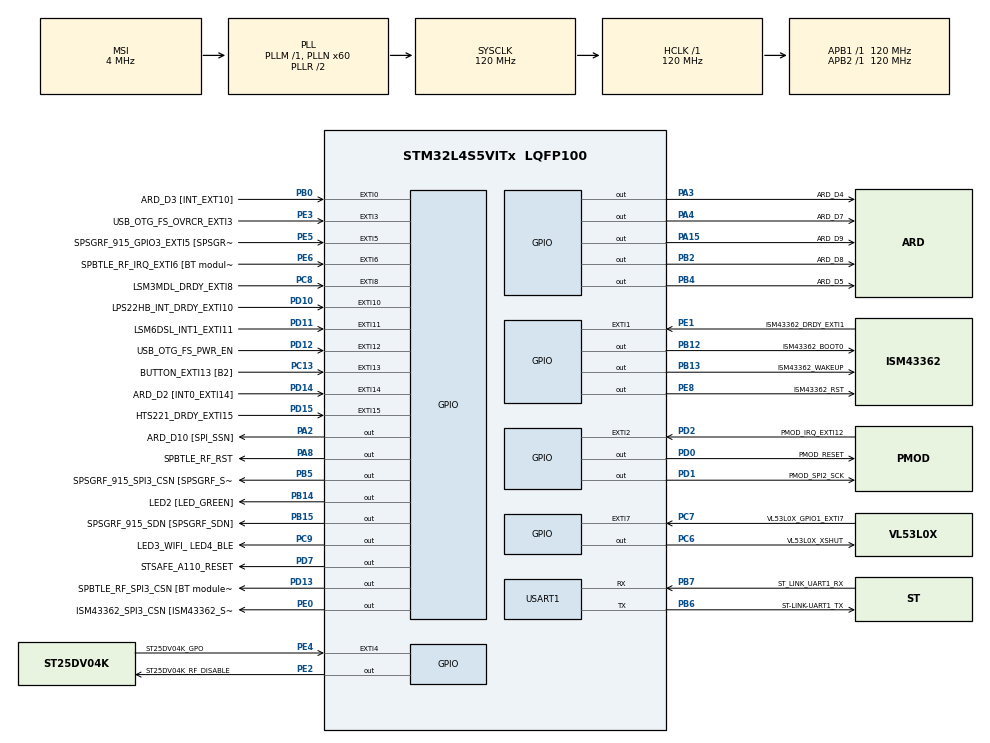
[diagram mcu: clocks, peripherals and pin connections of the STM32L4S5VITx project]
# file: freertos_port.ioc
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PD5.GPIO_ModeDefaultPP=GPIO_MODE_AF_PP
PE15.GPIO_Mode=GPIO_MODE_AF_PP
PD12.GPIO_Label=USB_OTG_FS_PWR_EN
VP_SYS_VS_tim6.Mode=TIM6
PC10.GPIO_PuPd=GPIO_NOPULL
NVIC.TIM6_DAC_IRQn=true\:0\:0\:false\:false\:true\:false\:true
PC12.Signal=SPI3_MOSI
PB14.GPIO_Label=LED2 [LED_GREEN]
PE8.GPIO_PuPd=GPIO_NOPULL
PB7.GPIO_FM7=__NULL
PC6.GPIO_Label=VL53L0X_XSHUT
PE10.GPIO_PuPd=GPIO_NOPULL
PA6.GPIO_Label=ARD_D12 [SPI1_MISO]
PB6.GPIO_Label=ST-LINK-UART1_TX
PD10.GPIO_PuPd=GPIO_NOPULL
PA15\ (JTDI).Signal=GPIO_Output
PB13.Signal=GPIO_Output
PD3.GPIO_Speed=GPIO_SPEED_FREQ_VERY_HIGH
PD6.GPIO_Label=PMOD_UART2_RX
PE6.GPIO_Label=SPBTLE_RF_IRQ_EXTI6 [BT module_SPI_IRQ]
RCC.SYSCLKSource=RCC_SYSCLKSOURCE_PLLCLK
PA6.GPIO_Mode=GPIO_MODE_AF_PP
PB11.GPIO_Speed=GPIO_SPEED_FREQ_VERY_HIGH
PD8.GPIO_ModeDefaultPP=GPIO_MODE_AF_PP
PE13.GPIO_Mode=GPIO_MODE_AF_PP
PA14\ (JTCK/SWCLK).Signal=SYS_JTCK-SWCLK
PD7.GPIO_PuPd=GPIO_NOPULL
PD4.Signal=USART2_RTS
RCC.APB2TimFreq_Value=120000000
PC4.GPIO_Mode=GPIO_MODE_ANALOG_ADC_CONTROL
PB6.Signal=USART1_TX
PC7.Signal=GPXTI7
PB12.PinState=GPIO_PIN_RESET
PB6.Mode=Asynchronous
PC3.Signal=ADCx_IN4
PD0.Signal=GPIO_Output
PD8.Signal=USART3_TX
PE5.Signal=GPXTI5
PD10.GPIO_ModeDefaultEXTI=GPIO_MODE_IT_RISING
PE1.Signal=GPXTI1
PA1.GPIO_PuPd=GPIO_NOPULL
PD2.GPIO_ModeDefaultEXTI=GPIO_MODE_IT_RISING
NVIC.EXTI15_10_IRQn=true\:0\:0\:false\:false\:true\:true\:true
PB7.GPIO_ModeDefaultPP=GPIO_MODE_AF_PP
PB2.Signal=GPIO_Output
PB12.GPIO_ModeDefaultOutputPP=GPIO_MODE_OUTPUT_PP
PC1.GPIO_PuPd=GPIO_NOPULL
PD1.GPIO_Label=PMOD_SPI2_SCK
PE11.GPIO_Speed_High_Default=GPIO_SPEED_FREQ_VERY_HIGH
PB12.GPIO_Label=ISM43362_BOOT0
PA13\ (JTMS/SWDIO).GPIO_Label=SYS_JTMS_SWDIO
PC4.GPIO_Label=ARD_A1 [ADC]
PB1.GPIO_Speed=GPIO_SPEED_FREQ_LOW
PE9.Signal=S_CKOUTDFSDM1
PA5.GPIO_PuPd=GPIO_NOPULL
PB1.GPIO_Label=ARD_D6
PE4.GPIO_Label=ST25DV04K_GPO
PC11.GPIO_Speed=GPIO_SPEED_FREQ_VERY_HIGH
PE2.Signal=GPIO_Output
PD14.GPIO_PuPd=GPIO_NOPULL
PA8.Signal=GPIO_Output
PA8.GPIO_ModeDefaultOutputPP=GPIO_MODE_OUTPUT_PP
PE10.Signal=OCTOSPIM_P1_CLK
PB2.GPIO_PuPd=GPIO_NOPULL
PD11.GPIO_ModeDefaultEXTI=GPIO_MODE_IT_RISING
PA0.Signal=UART4_TX
PE9.GPIO_Mode=GPIO_MODE_AF_PP
Mcu.Package=LQFP100
PB9.Signal=I2C1_SDA
PB1.Signal=S_TIM3_CH4
PB14.GPIO_PuPd=GPIO_NOPULL
PD0.GPIO_ModeDefaultOutputPP=GPIO_MODE_OUTPUT_PP
NVIC.TimeBase=TIM6_DAC_IRQn
PA2.GPIO_ModeDefaultOutputPP=GPIO_MODE_OUTPUT_PP
SH.ADCx_IN14.0=ADC1_IN14
PD12.Signal=GPXTI12
PB6.GPIO_FM6=__NULL
NVIC.TimeBaseIP=TIM6
PE12.GPIO_Label=OQUADSPI_BK1_IO0 [MX25R6435F_IO0]
PC6.GPIO_PuPd=GPIO_NOPULL
PB8.GPIO_PuPdOD=GPIO_PULLUP
PE8.GPIO_Speed=GPIO_SPEED_FREQ_LOW
PA14\ (JTCK/SWCLK).GPIO_Label=SYS_JTCK_SWCLK
PC2.GPIO_Mode=GPIO_MODE_ANALOG_ADC_CONTROL
RCC.APB1TimFreq_Value=120000000
PD5.GPIO_Speed=GPIO_SPEED_FREQ_VERY_HIGH
PC12.GPIO_PuPd=GPIO_NOPULL
PD3.GPIO_PuPd=GPIO_NOPULL
PA6.GPIO_Speed=GPIO_SPEED_FREQ_VERY_HIGH
PB11.GPIO_Mode=GPIO_MODE_AF_OD
PE10.GPIO_Label=QUADSPI_CLK [MX25R6435F_SCLK]
PE6.GPIO_PuPd=GPIO_NOPULL
PD9.GPIO_PuPd=GPIO_NOPULL
PB2.GPIO_ModeDefaultOutputPP=GPIO_MODE_OUTPUT_PP
PA4.GPIO_Label=ARD_D7
PC6.GPIO_Speed=GPIO_SPEED_FREQ_LOW
PA8.GPIO_Speed=GPIO_SPEED_FREQ_LOW
PD15.Signal=GPXTI15
RCC.HSI48_VALUE=48000000
PC6.GPIO_ModeDefaultOutputPP=GPIO_MODE_OUTPUT_PP
PE12.GPIO_PuPd=GPIO_NOPULL
PB7.GPIO_PuPd=GPIO_NOPULL
PD9.GPIO_Label=INTERNAL_UART3_RX [ISM43362_TX]
PD2.GPIO_PuPd=GPIO_NOPULL
PC13.Signal=GPXTI13
PA9.GPIO_Label=USB_OTG_FS_VBUS
PB6.GPIO_PuPd=GPIO_NOPULL
PD3.Signal=USART2_CTS
PB10.GPIO_PuPdOD=GPIO_PULLUP
PB11.GPIO_PuPdOD=GPIO_PULLUP
PC2.Signal=ADCx_IN3
PC6.Signal=GPIO_Output
PB11.GPIO_Label=INTERNAL_I2C2_SDA [MEMs]
PC9.PinState=GPIO_PIN_RESET
PD7.Signal=GPIO_Output
PD1.Signal=GPIO_Output
PE1.GPIO_PuPd=GPIO_NOPULL
PC0.Signal=ADCx_IN1
PD15.GPIO_ModeDefaultEXTI=GPIO_MODE_IT_RISING
PD9.GPIO_ModeDefaultPP=GPIO_MODE_AF_PP
PD0.GPIO_Speed=GPIO_SPEED_FREQ_LOW
PA0.GPIO_Speed=GPIO_SPEED_FREQ_VERY_HIGH
PE0.GPIO_Speed=GPIO_SPEED_FREQ_LOW
PD10.Signal=GPXTI10
PC10.GPIO_Mode=GPIO_MODE_AF_PP
PB8.GPIO_Label=ARD_D15 [I2C1_SCL]
PE15.GPIO_Speed_High_Default=GPIO_SPEED_FREQ_VERY_HIGH
PB10.GPIO_Mode=GPIO_MODE_AF_OD
PA8.GPIO_Label=SPBTLE_RF_RST
PB14.GPIO_Speed=GPIO_SPEED_FREQ_LOW
PE8.GPIO_Label=ISM43362_RST
PA9.Signal=USB_OTG_FS_VBUS
PB13.GPIO_Speed=GPIO_SPEED_FREQ_LOW
PC7.GPIO_PuPd=GPIO_NOPULL
PE9.GPIO_Label=DFSDM1_CKOUT [MP34DT01_CLK]
PB10.Signal=I2C2_SCL
PC6.PinState=GPIO_PIN_RESET
PB14.Signal=GPIO_Output
PE2.GPIO_PuPd=GPIO_NOPULL
PA5.Signal=SPI1_SCK
PD7.PinState=GPIO_PIN_RESET
PE6.GPIO_ModeDefaultEXTI=GPIO_MODE_IT_RISING
PA15\ (JTDI).GPIO_Speed=GPIO_SPEED_FREQ_LOW
PE1.GPIO_Label=ISM43362_DRDY_EXTI1
PA7.GPIO_Speed=GPIO_SPEED_FREQ_VERY_HIGH
PB13.GPIO_PuPd=GPIO_NOPULL
PD12.GPIO_ModeDefaultEXTI=GPIO_MODE_IT_RISING
PE7.GPIO_Speed=GPIO_SPEED_FREQ_LOW
PE14.Signal=OCTOSPIM_P1_IO2
PB13.PinState=GPIO_PIN_RESET
PE15.Signal=OCTOSPIM_P1_IO3
PB15.GPIO_Label=SPSGRF_915_SDN [SPSGRF_SDN]
PE8.Signal=GPIO_Output
PD4.GPIO_Speed=GPIO_SPEED_FREQ_VERY_HIGH
PA0.GPIO_ModeDefaultPP=GPIO_MODE_AF_PP
PC11.GPIO_Mode=GPIO_MODE_AF_PP
PA1.GPIO_Label=ARD_D0 [UART4_RX]
PC9.GPIO_PuPd=GPIO_NOPULL
PE3.GPIO_PuPd=GPIO_NOPULL
PA15\ (JTDI).GPIO_PuPd=GPIO_NOPULL
SH.ADCx_IN4.0=ADC1_IN4
PE4.GPIO_PuPd=GPIO_NOPULL
PC7.GPIO_Label=VL53L0X_GPIO1_EXTI7
PC8.GPIO_PuPd=GPIO_NOPULL
PA4.Signal=GPIO_Output
PC12.GPIO_Mode=GPIO_MODE_AF_PP
PB5.Signal=GPIO_Output
PE13.GPIO_Label=QUADSPI_BK1_IO1 [MX25R6435F_IO1]
PA5.GPIO_Label=ARD_D13 [SPI1_SCK/LED1]
PD11.Signal=GPXTI11
PE5.GPIO_Label=SPSGRF_915_GPIO3_EXTI5 [SPSGRF_GPIO_3]
PC12.GPIO_Label=INTERNAL_SPI3_MOSI [BT module_SPI_MOSI] [ISM43362_MOSI]
PC5.GPIO_Mode=GPIO_MODE_ANALOG_ADC_CONTROL
ProjectManager.HeapSize=0x200
PD0.GPIO_PuPd=GPIO_NOPULL
PE12.GPIO_Speed_High_Default=GPIO_SPEED_FREQ_VERY_HIGH
PD8.GPIO_Speed=GPIO_SPEED_FREQ_VERY_HIGH
PC9.GPIO_Speed=GPIO_SPEED_FREQ_LOW
NVIC.PriorityGroup=NVIC_PRIORITYGROUP_4
PC8.GPIO_ModeDefaultEXTI=GPIO_MODE_IT_RISING
PE3.Signal=GPXTI3
PC3.GPIO_Label=ARD_A2 [ADC]
PA15\ (JTDI).PinState=GPIO_PIN_RESET
PB4\ (NJTRST).GPIO_Label=ARD_D5
PD2.Signal=GPXTI2
PB6.GPIO_Speed=GPIO_SPEED_FREQ_VERY_HIGH
PB12.GPIO_PuPd=GPIO_NOPULL
PB0.Signal=GPXTI0
PB4\ (NJTRST).GPIO_PuPd=GPIO_NOPULL
PC1.Signal=ADCx_IN2
PD2.GPIO_Label=PMOD_IRQ_EXTI12
PA13\ (JTMS/SWDIO).Signal=SYS_JTMS-SWDIO
Mcu.Family=STM32L4
PC3.GPIO_Mode=GPIO_MODE_ANALOG_ADC_CONTROL
PA2.GPIO_PuPd=GPIO_NOPULL
PE7.GPIO_PuPd=GPIO_NOPULL
PE8.PinState=GPIO_PIN_RESET
RCC.CortexFreq_Value=120000000
PB10.GPIO_Speed=GPIO_SPEED_FREQ_VERY_HIGH
PE11.GPIO_Label=QUADSPI_NCS [MX25R6435F_SCLK]
SH.ADCx_IN2.0=ADC1_IN2
PC10.Signal=SPI3_SCK
PB2.GPIO_Speed=GPIO_SPEED_FREQ_LOW
PA7.GPIO_Mode=GPIO_MODE_AF_PP
PA0.GPIO_Label=ARD_D1 [UART4_TX]
PA2.GPIO_Speed=GPIO_SPEED_FREQ_LOW
PE2.GPIO_Speed=GPIO_SPEED_FREQ_LOW
PD9.GPIO_Speed=GPIO_SPEED_FREQ_VERY_HIGH
PC0.GPIO_Label=ARD_A5 [ADC]
PD0.GPIO_Label=PMOD_RESET
PE9.GPIO_Speed=GPIO_SPEED_FREQ_LOW
PB0.GPIO_Label=ARD_D3 [INT_EXT10]
PC10.GPIO_Speed=GPIO_SPEED_FREQ_VERY_HIGH
PB4\ (NJTRST).GPIO_Speed=GPIO_SPEED_FREQ_LOW
PE14.GPIO_Speed_High_Default=GPIO_SPEED_FREQ_VERY_HIGH
PC13.GPIO_Label=BUTTON_EXTI13 [B2]
PB13.GPIO_Label=ISM43362_WAKEUP
PD8.GPIO_PuPd=GPIO_NOPULL
PB11.Signal=I2C2_SDA
PB15.Signal=GPIO_Output
ProjectManager.StackSize=0x400
PD13.Signal=GPIO_Output
PD11.GPIO_PuPd=GPIO_NOPULL
PC11.GPIO_PuPd=GPIO_NOPULL
PE11.GPIO_PuPd=GPIO_NOPULL
PA1.GPIO_ModeDefaultPP=GPIO_MODE_AF_PP
PD11.GPIO_Label=LSM6DSL_INT1_EXTI11
RCC.HCLKFreq_Value=120000000
SH.ADCx_IN3.0=ADC1_IN3
PB13.GPIO_ModeDefaultOutputPP=GPIO_MODE_OUTPUT_PP
RCC.AHBFreq_Value=120000000
PD4.GPIO_Mode=GPIO_MODE_AF_PP
PA9.GPIO_Mode=GPIO_MODE_INPUT
PC1.GPIO_Mode=GPIO_MODE_ANALOG_ADC_CONTROL
RCC.HSE_VALUE=8000000
PE2.GPIO_ModeDefaultOutputPP=GPIO_MODE_OUTPUT_PP
PE13.GPIO_PuPd=GPIO_NOPULL
PD7.GPIO_Speed=GPIO_SPEED_FREQ_LOW
PB0.GPIO_ModeDefaultEXTI=GPIO_MODE_IT_RISING
PA2.PinState=GPIO_PIN_RESET
PA6.GPIO_PuPd=GPIO_NOPULL
PE13.Signal=OCTOSPIM_P1_IO1
PD0.PinState=GPIO_PIN_RESET
PC11.GPIO_Label=INTERNAL_SPI3_MISO [BT module_SPI_MOSI] [ISM43362_MOSI]
PC13.GPIO_PuPd=GPIO_NOPULL
PB7.Signal=USART1_RX
PE4.Signal=GPXTI4
PD7.GPIO_Label=STSAFE_A110_RESET
PB7.GPIO_Label=ST_LINK_UART1_RX
PD13.GPIO_Label=SPBTLE_RF_SPI3_CSN [BT module_SPI_CS]
PC7.GPIO_ModeDefaultEXTI=GPIO_MODE_IT_RISING
PA6.Signal=SPI1_MISO
PA15\ (JTDI).GPIO_ModeDefaultOutputPP=GPIO_MODE_OUTPUT_PP
PD5.GPIO_Label=PMOD_UART2_TX
PA0.GPIO_PuPd=GPIO_NOPULL
PA2.GPIO_Label=ARD_D10 [SPI_SSN]
PD15.GPIO_PuPd=GPIO_NOPULL
PE0.GPIO_Label=ISM43362_SPI3_CSN [ISM43362_SSN]
PB4\ (NJTRST).GPIO_ModeDefaultOutputPP=GPIO_MODE_OUTPUT_PP
SH.ADCx_IN1.0=ADC1_IN1
PB9.GPIO_Speed=GPIO_SPEED_FREQ_VERY_HIGH
PB5.GPIO_Label=SPSGRF_915_SPI3_CSN [SPSGRF_SPI_CS]
PE8.GPIO_ModeDefaultOutputPP=GPIO_MODE_OUTPUT_PP
PE13.GPIO_Speed_High_Default=GPIO_SPEED_FREQ_VERY_HIGH
PC5.Signal=ADCx_IN14
PD3.GPIO_Label=PMOD_UART2_CTS
PE14.GPIO_Mode=GPIO_MODE_AF_PP
PE7.Signal=S_DATAIN2DFSDM1
PC0.GPIO_PuPd=GPIO_NOPULL
PD6.Signal=USART2_RX
PE2.GPIO_Label=ST25DV04K_RF_DISABLE
PC2.GPIO_Label=ARD_A3 [ADC]
PB9.GPIO_FM9=__NULL
PA8.PinState=GPIO_PIN_RESET
RCC.PLLSAI1N=24
PA3.Signal=GPIO_Output
PB7.GPIO_Speed=GPIO_SPEED_FREQ_VERY_HIGH
PE0.GPIO_PuPd=GPIO_NOPULL
PE3.GPIO_ModeDefaultEXTI=GPIO_MODE_IT_RISING
PB3\ (JTDO/TRACESWO).GPIO_Label=SYS_JTD0_SWO
RCC.MSI_VALUE=4000000
SH.ADCx_IN13.0=ADC1_IN13
PE0.GPIO_ModeDefaultOutputPP=GPIO_MODE_OUTPUT_PP
PD15.GPIO_Label=HTS221_DRDY_EXTI15
PB9.GPIO_Label=ARD_D14 [I2C1_SDA]
PC10.GPIO_Label=INTERNAL-SPI3_SCK [BT module_SPI_MOSI] [ISM43362_MOSI]
PC9.GPIO_Label=LED3_WIFI_ LED4_BLE
PE2.PinState=GPIO_PIN_RESET
PC4.GPIO_PuPd=GPIO_NOPULL
PB8.GPIO_FM8=__NULL
PC11.Signal=SPI3_MISO
PC8.Signal=GPXTI8
PB4\ (NJTRST).PinState=GPIO_PIN_RESET
PC4.Signal=ADCx_IN13
PE4.GPIO_ModeDefaultEXTI=GPIO_MODE_IT_RISING
SH.S_DATAIN2DFSDM1.0=DFSDM1_DATIN2
PE14.GPIO_Label=QUAD_SPI_BK1_IO2 [MX25R6435F_IO2]
PD9.Signal=USART3_RX
PD5.Signal=USART2_TX
PE1.GPIO_ModeDefaultEXTI=GPIO_MODE_IT_RISING
PC5.GPIO_PuPd=GPIO_NOPULL
PA9.GPIO_PuPd=GPIO_NOPULL
PD6.GPIO_ModeDefaultPP=GPIO_MODE_AF_PP
PD8.GPIO_Label=INTERNAL_UART3_TX [ISM43362_RX]
PC8.GPIO_Label=LSM3MDL_DRDY_EXTI8
USART1.VirtualMode-Asynchronous=VM_ASYNC
PD4.GPIO_PuPd=GPIO_NOPULL
PE0.PinState=GPIO_PIN_RESET
PB14.PinState=GPIO_PIN_RESET
PE15.GPIO_Label=QUAD_SPI_BK1_IO3 [MX25R6435F_IO3]
PB3\ (JTDO/TRACESWO).Signal=SYS_JTDO-SWO
ProjectManager.TargetToolchain=STM32CubeIDE
PB10.GPIO_Label=INTERNAL_I2C2_SCL [MEMs]
RCC.USBFreq_Value=48000000
PD10.GPIO_Label=LPS22HB_INT_DRDY_EXTI10
PE11.Signal=OCTOSPIM_P1_NCS
RCC.LSE_VALUE=32768
PB14.GPIO_ModeDefaultOutputPP=GPIO_MODE_OUTPUT_PP
PA1.Signal=UART4_RX
PA7.GPIO_PuPd=GPIO_NOPULL
PE7.GPIO_Mode=GPIO_MODE_AF_PP
PB12.GPIO_Speed=GPIO_SPEED_FREQ_LOW
PB6.GPIO_ModeDefaultPP=GPIO_MODE_AF_PP
PE10.GPIO_Speed_High_Default=GPIO_SPEED_FREQ_VERY_HIGH
PE10.GPIO_Mode=GPIO_MODE_AF_PP
board=B-L4S5I-IOT01A
PD13.GPIO_Speed=GPIO_SPEED_FREQ_LOW
RCC.VCOOutputFreq_Value=240000000
PB9.GPIO_Mode=GPIO_MODE_AF_OD
RCC.APB2Freq_Value=120000000
PC0.GPIO_Mode=GPIO_MODE_ANALOG_ADC_CONTROL
PD4.GPIO_Label=PMOD_UART2_RTS
PA1.GPIO_Speed=GPIO_SPEED_FREQ_VERY_HIGH
SH.S_CKOUTDFSDM1.0=DFSDM1_CKOUT
PC9.GPIO_ModeDefaultOutputPP=GPIO_MODE_OUTPUT_PP
RCC.ADCFreq_Value=48000000
PC1.GPIO_Label=ARD_A4 [ADC]
PE11.GPIO_Mode=GPIO_MODE_AF_PP
PD13.GPIO_PuPd=GPIO_NOPULL
PD5.GPIO_PuPd=GPIO_NOPULL
PD14.GPIO_Label=ARD_D2 [INT0_EXTI14]
PE14.GPIO_PuPd=GPIO_NOPULL
PC2.GPIO_PuPd=GPIO_NOPULL
PE6.Signal=GPXTI6
PA15\ (JTDI).GPIO_Label=ARD_D9
Mcu.Name=STM32L4S5VITx
PB2.PinState=GPIO_PIN_RESET
PE0.Signal=GPIO_Output
PE7.GPIO_Label=DFSDM1_DATIN2 [MP34DT01_DOUT]
PE12.Signal=OCTOSPIM_P1_IO0
PE12.GPIO_Mode=GPIO_MODE_AF_PP
PA2.Signal=GPIO_Output
PD14.Signal=GPXTI14
RCC.SYSCLKFreq_VALUE=120000000
PA7.GPIO_Label=ARD_D11 [SPI1_MOSI]
PC13.GPIO_ModeDefaultEXTI=GPIO_MODE_IT_RISING
PC5.GPIO_Label=ARD_A0 [ADC]
PD13.GPIO_ModeDefaultOutputPP=GPIO_MODE_OUTPUT_PP
PB7.Mode=Asynchronous
NVIC.EXTI9_5_IRQn=true\:0\:0\:false\:false\:true\:true\:true
PB2.GPIO_Label=ARD_D8
PE15.GPIO_PuPd=GPIO_NOPULL
PB9.GPIO_PuPdOD=GPIO_PULLUP
PD3.GPIO_Mode=GPIO_MODE_AF_PP
RCC.HSI_VALUE=16000000
PA8.GPIO_PuPd=GPIO_NOPULL
PA5.GPIO_Speed=GPIO_SPEED_FREQ_VERY_HIGH
PD14.GPIO_ModeDefaultEXTI=GPIO_MODE_IT_RISING
RCC.PLLN=60
PB8.Signal=I2C1_SCL
PE3.GPIO_Label=USB_OTG_FS_OVRCR_EXTI3
PC9.Signal=GPIO_Output
PD13.PinState=GPIO_PIN_RESET
PB8.GPIO_Mode=GPIO_MODE_AF_OD
RCC.APB1Freq_Value=120000000
PA5.GPIO_Mode=GPIO_MODE_AF_PP
PB8.GPIO_Speed=GPIO_SPEED_FREQ_VERY_HIGH
PC12.GPIO_Speed=GPIO_SPEED_FREQ_VERY_HIGH
PD6.GPIO_Speed=GPIO_SPEED_FREQ_VERY_HIGH
PD7.GPIO_ModeDefaultOutputPP=GPIO_MODE_OUTPUT_PP
PB12.Signal=GPIO_Output
PB0.GPIO_PuPd=GPIO_NOPULL
PC3.GPIO_PuPd=GPIO_NOPULL
PD12.GPIO_PuPd=GPIO_NOPULL
PA3.GPIO_Label=ARD_D4
SH.S_TIM3_CH4.0=TIM3_CH4
PD6.GPIO_PuPd=GPIO_NOPULL
PA7.Signal=SPI1_MOSI
PE9.GPIO_PuPd=GPIO_NOPULL
PB4\ (NJTRST).Signal=GPIO_Output

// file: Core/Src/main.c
/* USER CODE BEGIN Header */
/**
  ******************************************************************************
  * @file           : main.c
  * @brief          : Main program body
  ******************************************************************************
  * @attention
  *
  * <h2><center>&copy; Copyright (c) 2021 STMicroelectronics.
  * All rights reserved.</center></h2>
  *
  * This software component is licensed by ST under BSD 3-Clause license,
  * the "License"; You may not use this file except in compliance with the
  * License. You may obtain a copy of the License at:
  *                        opensource.org/licenses/BSD-3-Clause
  *
  ******************************************************************************
  */
/* USER CODE END Header */
#include "main.h"
#include "usart.h"
#include "gpio.h"

/* USER CODE BEGIN Includes */
#include "FreeRTOS.h"
#include "task.h"
#include "debug_log.h"
/* USER CODE END Includes */

void SystemClock_Config(void);
/* USER CODE BEGIN PFP */
static void task_handler_1(void* parameters);
static void task_handler_2(void* parameters);
/* USER CODE END PFP */

int main(void)
{
  /* USER CODE BEGIN 1 */
  TaskHandle_t xHandle_1 = NULL;
  TaskHandle_t xHandle_2 = NULL;
  BaseType_t xReturned;

  /* USER CODE END 1 */

  /* MCU Configuration--------------------------------------------------------*/

  /* Reset of all peripherals, Initializes the Flash interface and the Systick. */
  HAL_Init();

  /* Configure the system clock */
  SystemClock_Config();

  /* Initialize all configured peripherals */
  MX_GPIO_Init();
  MX_USART1_UART_Init();
  /* USER CODE BEGIN 2 */
  DEBUG_LOG("hello world in FreeRTOS !\r\n");
  xReturned = xTaskCreate(task_handler_1,"Task-1",200,"Hello World for Task-1",2,&xHandle_1);
  configASSERT(xReturned == pdPASS);

  xReturned = xTaskCreate(task_handler_2,"Task-2",200,"Hello World for Task-2",2,&xHandle_2);
  configASSERT(xReturned == pdPASS);
  vTaskStartScheduler();
  DEBUG_LOG("Something terrible wrong happend if you see this message !\r\n");
  /* USER CODE END 2 */

  /* Infinite loop */
  while (1)
  {

  }
}

void SystemClock_Config(void)
{
  RCC_OscInitTypeDef RCC_OscInitStruct = {0};
  RCC_ClkInitTypeDef RCC_ClkInitStruct = {0};
  RCC_PeriphCLKInitTypeDef PeriphClkInit = {0};

  /** Configure the main internal regulator output voltage
  */
  if (HAL_PWREx_ControlVoltageScaling(PWR_REGULATOR_VOLTAGE_SCALE1_BOOST) != HAL_OK)
  {
    Error_Handler();
  }
  /** Initializes the RCC Oscillators according to the specified parameters
  * in the RCC_OscInitTypeDef structure.
  */
  RCC_OscInitStruct.OscillatorType = RCC_OSCILLATORTYPE_MSI;
  RCC_OscInitStruct.MSIState = RCC_MSI_ON;
  RCC_OscInitStruct.MSICalibrationValue = 0;
  RCC_OscInitStruct.MSIClockRange = RCC_MSIRANGE_6;
  RCC_OscInitStruct.PLL.PLLState = RCC_PLL_ON;
  RCC_OscInitStruct.PLL.PLLSource = RCC_PLLSOURCE_MSI;
  RCC_OscInitStruct.PLL.PLLM = 1;
  RCC_OscInitStruct.PLL.PLLN = 60;
  RCC_OscInitStruct.PLL.PLLP = RCC_PLLP_DIV2;
  RCC_OscInitStruct.PLL.PLLQ = RCC_PLLQ_DIV2;
  RCC_OscInitStruct.PLL.PLLR = RCC_PLLR_DIV2;
  if (HAL_RCC_OscConfig(&RCC_OscInitStruct) != HAL_OK)
  {
    Error_Handler();
  }
  /** Initializes the CPU, AHB and APB buses clocks
  */
  RCC_ClkInitStruct.ClockType = RCC_CLOCKTYPE_HCLK|RCC_CLOCKTYPE_SYSCLK
                              |RCC_CLOCKTYPE_PCLK1|RCC_CLOCKTYPE_PCLK2;
  RCC_ClkInitStruct.SYSCLKSource = RCC_SYSCLKSOURCE_PLLCLK;
  RCC_ClkInitStruct.AHBCLKDivider = RCC_SYSCLK_DIV1;
  RCC_ClkInitStruct.APB1CLKDivider = RCC_HCLK_DIV1;
  RCC_ClkInitStruct.APB2CLKDivider = RCC_HCLK_DIV1;

  if (HAL_RCC_ClockConfig(&RCC_ClkInitStruct, FLASH_LATENCY_5) != HAL_OK)
  {
    Error_Handler();
  }
  PeriphClkInit.PeriphClockSelection = RCC_PERIPHCLK_USART1;
  PeriphClkInit.Usart1ClockSelection = RCC_USART1CLKSOURCE_PCLK2;
  if (HAL_RCCEx_PeriphCLKConfig(&PeriphClkInit) != HAL_OK)
  {
    Error_Handler();
  }
}

/* USER CODE BEGIN 4 */
static void task_handler_1(void* parameters)
{
	while (1){
		DEBUG_LOG("Hello World ! This is my first Task in FreeRTOS !\r\n");
		DEBUG_LOG("%s\r\n", (char*) parameters);
	}
}

static void task_handler_2(void* parameters)
{
	while (1){
		DEBUG_LOG("Hello World ! This is my second Task in FreeRTOS !\r\n");
		DEBUG_LOG("%s\r\n", (char*) parameters);
	}

}
/* USER CODE END 4 */

 /**
  * @brief  Period elapsed callback in non blocking mode
  * @note   This function is called  when TIM6 interrupt took place, inside
  * HAL_TIM_IRQHandler(). It makes a direct call to HAL_IncTick() to increment
  * a global variable "uwTick" used as application time base.
  * @param  htim : TIM handle
  * @retval None
  */
void HAL_TIM_PeriodElapsedCallback(TIM_HandleTypeDef *htim)
{
  if (htim->Instance == TIM6) {
    HAL_IncTick();
  }
}

void Error_Handler(void)
{
  __disable_irq();
  while (1)
  {
  }
}

/************************ (C) COPYRIGHT STMicroelectronics *****END OF FILE****/
